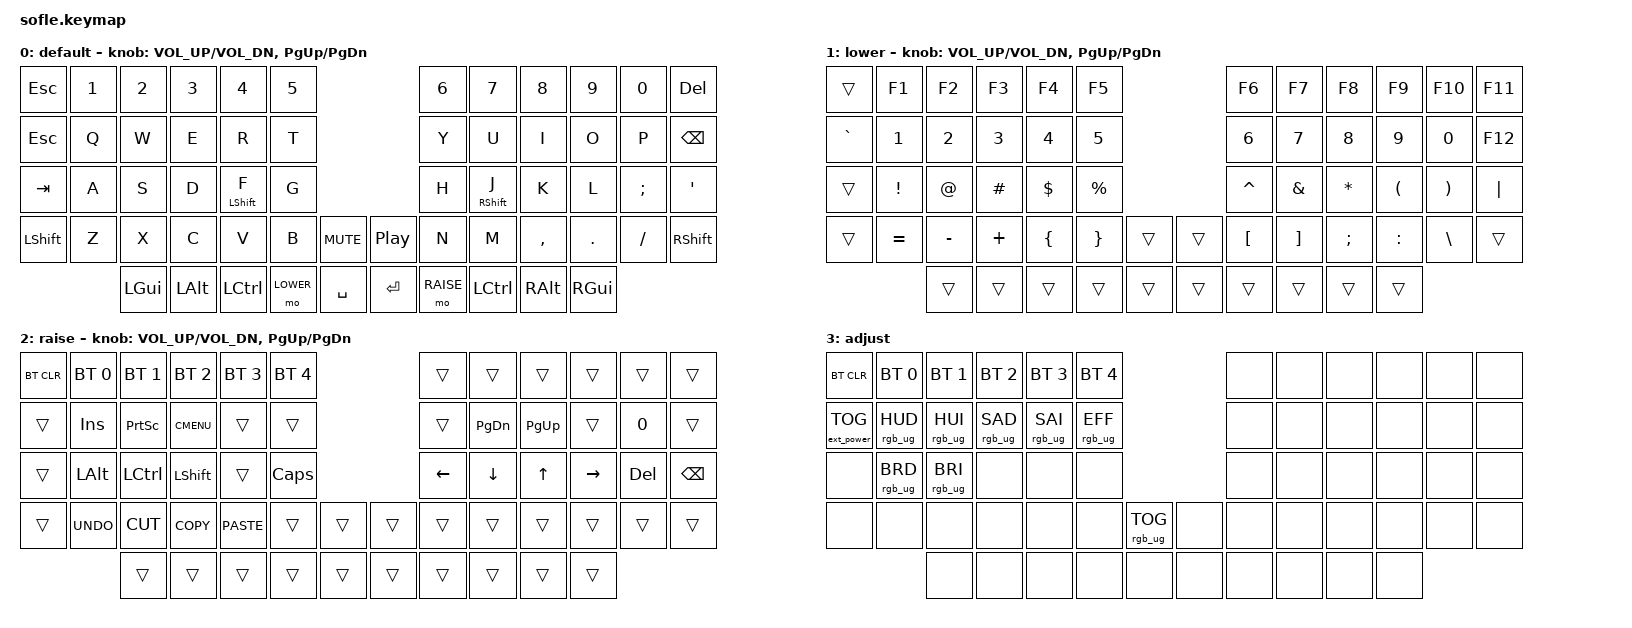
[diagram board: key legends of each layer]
/*
 * Copyright (c) 2020 The ZMK Contributors
 *
 * SPDX-License-Identifier: MIT
 */

#include <behaviors.dtsi>
#include <dt-bindings/zmk/bt.h>
#include <dt-bindings/zmk/ext_power.h>
#include <dt-bindings/zmk/keys.h>
#include <dt-bindings/zmk/rgb.h>

#define BASE 0
#define LOWER 1
#define RAISE 2
#define ADJUST 3

/ {
    // Activate ADJUST layer by pressing raise and lower

    conditional_layers {
        compatible = "zmk,conditional-layers";

        adjust_layer {
            if-layers = <LOWER RAISE>;
            then-layer = <ADJUST>;
        };
    };

    combos {
        compatible = "zmk,combos";

        unlock_studio {
            bindings = <&studio_unlock>;
            key-positions = <28 27 26 25 25 26 27 28>;
        };
    };

    behaviors {
        hrl: hrl {
            compatible = "zmk,behavior-hold-tap";
            label = "HRL";
            bindings = <&kp>, <&kp>;

            #binding-cells = <2>;
            flavor = "balanced";
            tapping-term-ms = <200>;
            quick-tap-ms = <200>;
            require-prior-idle-ms = <150>;
            hold-trigger-key-positions = <6 7 8 9 10 11 18 19 20 21 22 23 30 31 32 33 34 35 44 45 46 47 48 49 56 57 58 59 43 55>;
            hold-trigger-on-release;
        };

        hrr: hrr {
            compatible = "zmk,behavior-hold-tap";
            label = "HRR";
            bindings = <&kp>, <&kp>;

            #binding-cells = <2>;
            flavor = "balanced";
            tapping-term-ms = <200>;
            quick-tap-ms = <200>;
            require-prior-idle-ms = <150>;
            hold-trigger-key-positions = <0 1 2 3 4 5 12 13 14 15 16 17 24 25 26 27 28 29 36 37 38 39 40 41 42 50 51 52 53 54>;
            hold-trigger-on-release;
        };
    };

    keymap {
        compatible = "zmk,keymap";

        default_layer {
            display-name = "default";

            // ------------------------------------------------------------------------------------------------------------
            // |   `   |  1  |  2  |  3   |  4   |  5   |                   |  6   |  7    |  8    |  9   |   0   |       |
            // |  ESC  |  Q  |  W  |  E   |  R   |  T   |                   |  Y   |  U    |  I    |  O   |   P   | BKSPC |
            // |  TAB  |  A  |  S  |  D   |  F   |  G   |                   |  H   |  J    |  K    |  L   |   ;   |   '   |
            // | SHIFT |  Z  |  X  |  C   |  V   |  B   |  MUTE  |  |       |  N   |  M    |  ,    |  .   |   /   | SHIFT |
            //               | GUI | ALT  | CTRL | LOWER|  ENTER |  | SPACE | RAISE| CTRL  | ALT   | GUI  |

            bindings = <
&kp ESCAPE      &kp N1  &kp N2    &kp N3    &kp N4             &kp N5                                     &kp N6     &kp N7              &kp N8     &kp N9    &kp N0    &kp DELETE
&kp ESCAPE      &kp Q   &kp W     &kp E     &kp R              &kp T                                      &kp Y      &kp U               &kp I      &kp O     &kp P     &kp BSPC
&kp TAB         &kp A   &kp S     &kp D     &hrl LEFT_SHIFT F  &kp G                                      &kp H      &hrr RIGHT_SHIFT J  &kp K      &kp L     &kp SEMI  &kp SQT
&kp LEFT_SHIFT  &kp Z   &kp X     &kp C     &kp V              &kp B      &kp C_MUTE    &kp C_PLAY_PAUSE  &kp N      &kp M               &kp COMMA  &kp DOT   &kp FSLH  &kp RSHFT
                        &kp LGUI  &kp LALT  &kp LCTRL          &mo LOWER  &kp SPACE     &kp RETURN        &mo RAISE  &kp LEFT_CONTROL    &kp RALT   &kp RGUI
            >;

            sensor-bindings = <&inc_dec_kp C_VOL_UP C_VOL_DN &inc_dec_kp PG_UP PG_DN>;
        };

        lower_layer {
            display-name = "lower";

            // TODO: Some binds are waiting for shifted keycode support.
            // ------------------------------------------------------------------------------------------------------------
            // |       |  F1 |  F2 |  F3  |  F4  |  F5  |                   |  F6  |  F7   |  F8   |  F9  |  F10  |  F11  |
            // |   `   |  1  |  2  |  3   |  4   |  5   |                   |  6   |  7    |  8    |  9   |   0   |  F12  |
            // |       |  !  |  @  |  #   |  $   |  %   |                   |  ^   |  &    |  *    |  (   |   )   |   |   |
            // |       |  =  |  -  |  +   |  {   |  }   |        |  |       |  [   |  ]    |  ;    |  :   |   \   |       |
            //               |     |      |      |      |        |  |       |      |       |       |      |

            bindings = <
&trans     &kp F1     &kp F2     &kp F3    &kp F4    &kp F5                       &kp F6     &kp F7    &kp F8     &kp F9     &kp F10   &kp F11
&kp GRAVE  &kp N1     &kp N2     &kp N3    &kp N4    &kp N5                       &kp N6     &kp N7    &kp N8     &kp N9     &kp N0    &kp F12
&trans     &kp EXCL   &kp AT     &kp HASH  &kp DLLR  &kp PRCNT                    &kp CARET  &kp AMPS  &kp ASTRK  &kp LPAR   &kp RPAR  &kp PIPE
&trans     &kp EQUAL  &kp MINUS  &kp PLUS  &kp LBRC  &kp RBRC   &trans    &trans  &kp LBKT   &kp RBKT  &kp SEMI   &kp COLON  &kp BSLH  &trans
                      &trans     &trans    &trans    &trans     &trans    &trans  &trans     &trans    &trans     &trans
            >;

            sensor-bindings = <&inc_dec_kp C_VOL_UP C_VOL_DN &inc_dec_kp PG_UP PG_DN>;
        };

        raise_layer {
            display-name = "raise";

            // ------------------------------------------------------------------------------------------------------------
            // | BTCLR | BT1  | BT2  |  BT3  |  BT4  |  BT5 |                |      |      |       |      |       |       |
            // |       | INS  | PSCR | GUI   |       |      |                | PGUP |      |   ^   |      |       |       |
            // |       | ALT  | CTRL | SHIFT |       | CAPS |                | PGDN |   <- |   v   |  ->  |  DEL  | BKSPC |
            // |       | UNDO | CUT  | COPY  | PASTE |      |      |  |      |      |      |       |      |       |       |
            //                |      |       |       |      |      |  |      |      |      |       |      |

            bindings = <
&bt BT_CLR  &bt BT_SEL 0  &bt BT_SEL 1  &bt BT_SEL 2  &bt BT_SEL 3  &bt BT_SEL 4                    &trans    &trans          &trans        &trans     &trans   &trans
&trans      &kp INS       &kp PSCRN     &kp K_CMENU   &trans        &trans                          &trans    &kp PAGE_DOWN   &kp PAGE_UP   &trans     &kp N0   &trans
&trans      &kp LALT      &kp LCTRL     &kp LSHFT     &trans        &kp CLCK                        &kp LEFT  &kp DOWN_ARROW  &kp UP_ARROW  &kp RIGHT  &kp DEL  &kp BSPC
&trans      &kp K_UNDO    &kp K_CUT     &kp K_COPY    &kp K_PASTE   &trans        &trans    &trans  &trans    &trans          &trans        &trans     &trans   &trans
                          &trans        &trans        &trans        &trans        &trans    &trans  &trans    &trans          &trans        &trans
            >;

            sensor-bindings = <&inc_dec_kp C_VOL_UP C_VOL_DN &inc_dec_kp PG_UP PG_DN>;
        };

        adjust_layer {
            // ----------------------------------------------------------------------------------------------------------------------------
            // | BTCLR  |  BT1    |  BT2    |   BT3   |   BT4   |   BT5   |                  |      |      |       |      |       |       |
            // | EXTPWR | RGB_HUD | RGB_HUI | RGB_SAD | RGB_SAI | RGB_EFF |                  |      |      |       |      |       |       |
            // |        | RGB_BRD | RGB_BRI |         |         |         |                  |      |      |       |      |       |       |
            // |        |         |         |         |         |         | RGB_TOG | |      |      |      |       |      |       |       |
            //                    |         |         |         |         |         | |      |      |      |       |      |

            display-name = "adjust";
            bindings = <
&bt BT_CLR         &bt BT_SEL 0     &bt BT_SEL 1     &bt BT_SEL 2     &bt BT_SEL 3     &bt BT_SEL 4                               &none  &none  &none  &none  &none  &none
&ext_power EP_TOG  &rgb_ug RGB_HUD  &rgb_ug RGB_HUI  &rgb_ug RGB_SAD  &rgb_ug RGB_SAI  &rgb_ug RGB_EFF                            &none  &none  &none  &none  &none  &none
&none              &rgb_ug RGB_BRD  &rgb_ug RGB_BRI  &none            &none            &none                                      &none  &none  &none  &none  &none  &none
&none              &none            &none            &none            &none            &none            &rgb_ug RGB_TOG    &none  &none  &none  &none  &none  &none  &none
                                    &none            &none            &none            &none            &none              &none  &none  &none  &none  &none
            >;
        };
    };
};
